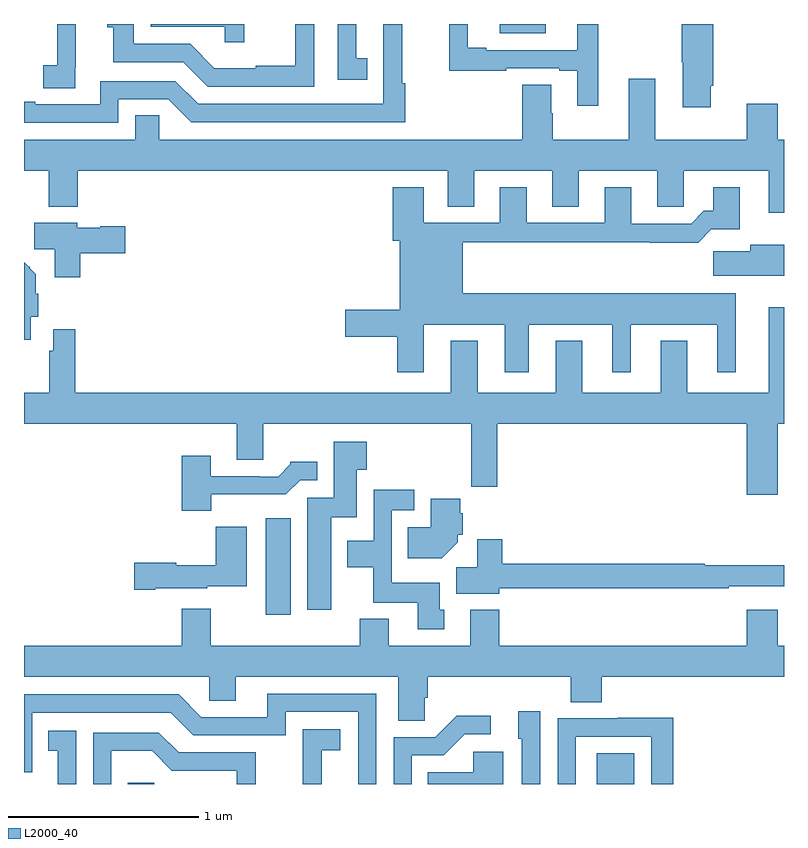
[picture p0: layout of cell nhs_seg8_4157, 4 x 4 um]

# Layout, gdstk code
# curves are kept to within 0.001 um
import gdstk
lib = gdstk.Library(unit=1e-6, precision=1e-09)
def R(c, l, rs):  # rectangles x0, y0, x1, y1
    for r in rs: c.add(gdstk.rectangle(r[:2], r[2:], *l))
def P(c, l, *ps):  # polygons
    for p in ps: c.add(gdstk.Polygon(p, *l))
L2000_40 = (2000, 40)

nhs_seg8_4157 = lib.new_cell('nhs_seg8_4157')
R(nhs_seg8_4157, L2000_40, [(365.545,1151.9,365.685,1151.907), (368.015,1151.9,368.212,1152.061), (366.272,1152.792,366.403,1153.3), (367.505,1155.851,367.747,1155.9)])
P(nhs_seg8_4157, L2000_40, [(366.528,1155.9),(366.427,1155.9),(366.427,1155.679),(366.221,1155.679),(366.221,1155.667),(366.002,1155.667),(365.874,1155.795),(365.578,1155.795),(365.578,1155.9),(365.438,1155.9),(365.438,1155.883),(365.471,1155.883),(365.471,1155.699),(365.838,1155.699),(365.967,1155.57),(366.528,1155.57)],
  [(368.614,1155.574),(368.627,1155.574),(368.627,1155.9),(368.461,1155.9),(368.461,1155.7),(368.468,1155.7),(368.468,1155.462),(368.614,1155.462)],
  [(368.023,1155.9),(367.913,1155.9),(367.913,1155.762),(367.432,1155.762),(367.432,1155.775),(367.336,1155.775),(367.336,1155.9),(367.237,1155.9),(367.237,1155.654),(367.538,1155.654),(367.538,1155.666),(367.817,1155.666),(367.817,1155.654),(367.913,1155.654),(367.913,1155.471),(368.023,1155.471)],
  [(366.158,1155.9),(365.667,1155.9),(365.667,1155.885),(366.057,1155.885),(366.057,1155.804),(366.158,1155.804)],
  [(365.27,1155.673),(365.272,1155.673),(365.272,1155.9),(365.175,1155.9),(365.175,1155.881),(365.174,1155.881),(365.174,1155.684),(365.1,1155.684),(365.1,1155.562),(365.27,1155.562)],
  [(366.806,1155.719),(366.748,1155.719),(366.748,1155.9),(366.651,1155.9),(366.651,1155.606),(366.806,1155.606)],
  [(365.496,1155.504),(365.76,1155.504),(365.88,1155.384),(367.007,1155.384),(367.007,1155.587),(366.99,1155.587),(366.99,1155.9),(366.89,1155.9),(366.891,1155.48),(365.916,1155.48),(365.796,1155.6),(365.4,1155.6),(365.4,1155.477),(365.059,1155.477),(365.059,1155.492),(365,1155.492),(365,1155.381),(365.496,1155.381)],
  [(369,1155.292),(368.968,1155.292),(368.968,1155.481),(368.804,1155.481),(368.804,1155.292),(368.323,1155.292),(368.323,1155.613),(368.183,1155.613),(368.183,1155.292),(367.782,1155.292),(367.782,1155.431),(367.774,1155.431),(367.774,1155.581),(367.622,1155.581),(367.622,1155.292),(365.712,1155.292),(365.712,1155.419),(365.585,1155.419),(365.585,1155.292),(365,1155.292),(365,1155.128),(365.129,1155.128),(365.129,1154.939),(365.282,1154.939),(365.282,1155.128),(367.229,1155.128),(367.229,1154.938),(367.369,1154.938),(367.369,1155.128),(367.781,1155.128),(367.781,1154.938),(367.921,1154.938),(367.921,1155.128),(368.333,1155.128),(368.333,1154.938),(368.472,1154.938),(368.472,1155.128),(368.921,1155.128),(368.921,1154.907),(369,1154.907)],
  [(367.105,1154.318),(367.529,1154.318),(367.529,1154.067),(367.657,1154.067),(367.657,1154.318),(368.096,1154.318),(368.096,1154.067),(368.194,1154.067),(368.194,1154.318),(368.648,1154.318),(368.648,1154.067),(368.746,1154.067),(368.746,1154.482),(367.309,1154.482),(367.309,1154.752),(368.293,1154.752),(368.293,1154.75),(368.549,1154.75),(368.618,1154.819),(368.767,1154.819),(368.767,1155.04),(368.627,1155.04),(368.627,1154.917),(368.578,1154.917),(368.511,1154.85),(368.197,1154.85),(368.197,1155.04),(368.057,1155.04),(368.057,1154.853),(367.645,1154.853),(367.645,1155.04),(367.505,1155.04),(367.505,1154.853),(367.105,1154.853),(367.105,1155.04),(366.941,1155.04),(366.941,1154.76),(366.977,1154.76),(366.977,1154.396),(366.69,1154.396),(366.69,1154.254),(366.965,1154.254),(366.965,1154.067),(367.105,1154.067)],
  [(365.297,1154.693),(365.533,1154.693),(365.533,1154.835),(365.4,1154.835),(365.4,1154.827),(365.28,1154.827),(365.28,1154.854),(365.054,1154.854),(365.054,1154.715),(365.162,1154.715),(365.162,1154.568),(365.297,1154.568)],
  [(369,1154.737),(368.822,1154.737),(368.822,1154.705),(368.628,1154.705),(368.628,1154.576),(369,1154.576)],
  [(365.035,1154.358),(365.075,1154.358),(365.075,1154.48),(365.062,1154.48),(365.062,1154.583),(365.031,1154.614),(365.031,1154.622),(365.025,1154.622),(365,1154.647),(365,1154.238),(365.035,1154.238)],
  [(368.968,1153.796),(369,1153.796),(369,1154.41),(368.921,1154.41),(368.921,1153.96),(368.491,1153.96),(368.491,1154.233),(368.351,1154.233),(368.351,1153.96),(367.939,1153.96),(367.939,1154.233),(367.799,1154.233),(367.799,1153.96),(367.387,1153.96),(367.387,1154.233),(367.247,1154.233),(367.247,1153.96),(365.27,1153.96),(365.27,1154.293),(365.154,1154.293),(365.154,1154.18),(365.134,1154.18),(365.134,1153.96),(365,1153.96),(365,1153.796),(366.119,1153.796),(366.119,1153.606),(366.259,1153.606),(366.259,1153.796),(367.354,1153.796),(367.354,1153.464),(367.49,1153.464),(367.49,1153.796),(368.804,1153.796),(368.804,1153.422),(368.968,1153.422)],
  [(366.616,1153.304),(366.751,1153.304),(366.751,1153.555),(366.803,1153.555),(366.803,1153.702),(366.629,1153.702),(366.629,1153.407),(366.491,1153.407),(366.491,1152.816),(366.616,1152.816)],
  [(365.986,1153.424),(366.377,1153.424),(366.453,1153.5),(366.544,1153.5),(366.544,1153.597),(366.402,1153.597),(366.402,1153.582),(366.338,1153.518),(366.239,1153.518),(366.239,1153.521),(365.983,1153.521),(365.983,1153.627),(365.831,1153.627),(365.831,1153.337),(365.986,1153.337)],
  [(367.213,1152.816),(367.189,1152.816),(367.189,1152.958),(366.936,1152.958),(366.936,1153.341),(367.054,1153.341),(367.054,1153.45),(366.84,1153.45),(366.84,1153.18),(366.701,1153.18),(366.701,1153.04),(366.838,1153.04),(366.838,1152.854),(367.073,1152.854),(367.073,1152.714),(367.213,1152.714)],
  [(367.282,1153.173),(367.282,1153.212),(367.308,1153.212),(367.308,1153.326),(367.295,1153.326),(367.295,1153.402),(367.142,1153.402),(367.142,1153.252),(367.021,1153.252),(367.021,1153.088),(367.198,1153.088)],
  [(365.692,1152.929),(365.964,1152.929),(365.964,1152.941),(366.172,1152.941),(366.172,1153.255),(366.01,1153.255),(366.01,1153.051),(365.802,1153.051),(365.802,1153.064),(365.58,1153.064),(365.58,1152.922),(365.692,1152.922)],
  [(367.5,1152.93),(368.708,1152.93),(368.708,1152.942),(369,1152.942),(369,1153.051),(368.583,1153.051),(368.583,1153.058),(367.517,1153.058),(367.517,1153.189),(367.385,1153.189),(367.385,1153.04),(367.274,1153.04),(367.274,1152.902),(367.5,1152.902)],
  [(367.11,1152.355),(367.124,1152.355),(367.124,1152.464),(367.877,1152.464),(367.877,1152.331),(368.042,1152.331),(368.042,1152.464),(369,1152.464),(369,1152.628),(368.968,1152.628),(368.968,1152.817),(368.804,1152.817),(368.804,1152.628),(367.502,1152.628),(367.502,1152.817),(367.349,1152.817),(367.349,1152.628),(366.919,1152.628),(366.919,1152.769),(366.767,1152.769),(366.767,1152.628),(365.983,1152.628),(365.983,1152.823),(365.831,1152.823),(365.831,1152.628),(365,1152.628),(365,1152.464),(365.976,1152.464),(365.976,1152.337),(366.115,1152.337),(366.115,1152.464),(366.971,1152.464),(366.971,1152.232),(367.11,1152.232)],
  [(366.855,1152.375),(366.281,1152.375),(366.281,1152.252),(365.934,1152.252),(365.814,1152.372),(365,1152.372),(365,1151.961),(365.043,1151.961),(365.043,1152.276),(365.772,1152.276),(365.892,1152.156),(366.378,1152.156),(366.378,1152.279),(366.759,1152.279),(366.759,1151.9),(366.855,1151.9)],
  [(367.716,1152.283),(367.601,1152.283),(367.601,1152.138),(367.62,1152.138),(367.62,1151.9),(367.716,1151.9)],
  [(367.041,1152.051),(367.21,1152.051),(367.321,1152.162),(367.456,1152.162),(367.456,1152.26),(367.277,1152.26),(367.164,1152.147),(366.945,1152.147),(366.945,1151.9),(367.041,1151.9)],
  [(367.905,1152.15),(368.301,1152.15),(368.301,1151.9),(368.417,1151.9),(368.417,1152.248),(368.125,1152.248),(368.125,1152.246),(367.809,1152.246),(367.809,1151.9),(367.905,1151.9)],
  [(366.566,1152.077),(366.664,1152.077),(366.664,1152.187),(366.466,1152.187),(366.466,1151.981),(366.467,1151.981),(366.467,1151.9),(366.566,1151.9)],
  [(365.274,1152.181),(365.128,1152.181),(365.128,1152.075),(365.177,1152.075),(365.177,1151.9),(365.274,1151.9)],
  [(365.46,1152.074),(365.674,1152.074),(365.778,1151.97),(366.12,1151.97),(366.12,1151.9),(366.219,1151.9),(366.219,1152.066),(365.815,1152.066),(365.71,1152.171),(365.364,1152.171),(365.364,1151.9),(365.46,1151.9)],
  [(367.522,1152.07),(367.365,1152.07),(367.365,1151.962),(367.126,1151.962),(367.126,1151.9),(367.522,1151.9)])

lib.write_gds('nhs_seg8_4157.gds')
